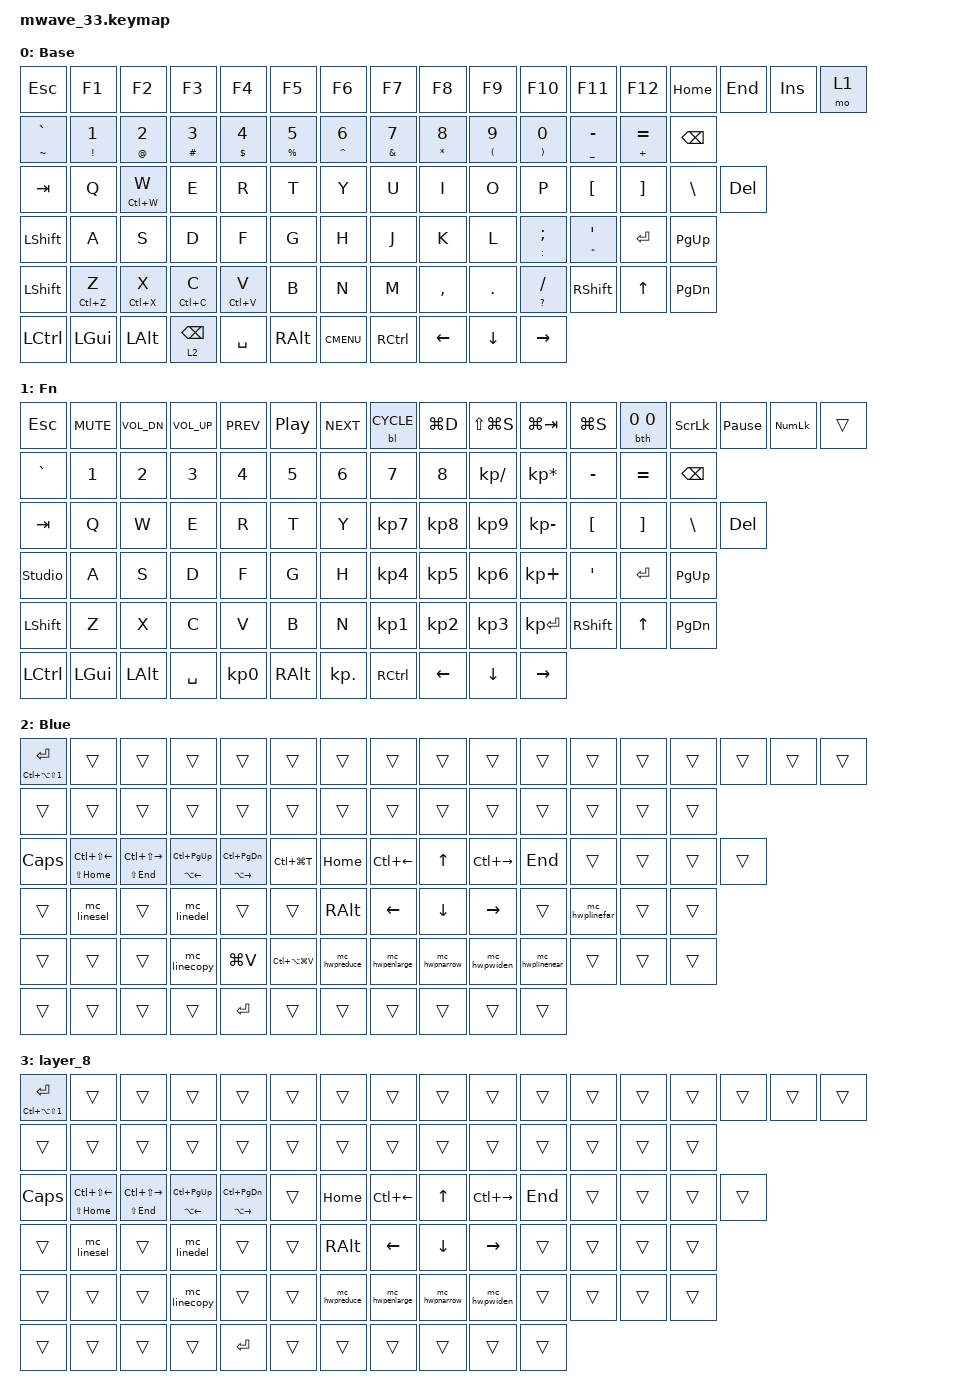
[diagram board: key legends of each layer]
#include <dt-bindings/advertising_mode.h>
#include <behaviors/advertising_mode.dtsi>
#include <behaviors/stp_indicators.dtsi>
#include <behaviors.dtsi>
#include <dt-bindings/zmk/backlight.h>
#include <dt-bindings/zmk/keys.h>
#include "studio-macros.dtsi"

&lt {
    tapping-term-ms = <150>;
    quick-tap-ms = <200>;
    flavor = "balanced";
};

/ {
    #include "mwave_prim.dtsi"

    macros {
        mc_linesel: mc_linesel {
            compatible = "zmk,behavior-macro";
            #binding-cells = <0>;
            bindings = <&kp END &kp LS(HOME)>;
            label = "MC_LINESEL";
        };

        mc_linedel: mc_linedel {
            compatible = "zmk,behavior-macro";
            #binding-cells = <0>;
            bindings = <&kp END &kp LS(HOME) &kp BACKSPACE>;
            label = "MC_LINEDEL";
        };

        mc_linecopy: mc_linecopy {
            compatible = "zmk,behavior-macro";
            #binding-cells = <0>;
            bindings = <&kp END &kp LS(HOME) &kp LC(C)>;
            label = "MC_LINECOPY";
        };

        mc_hwpenlarge: mc_hwpenlarge {
            compatible = "zmk,behavior-macro";
            #binding-cells = <0>;
            bindings = <&kp LA(LS(E))>;
            label = "MC_HWPENLARGE";
        };

        mc_hwpreduce: mc_hwpreduce {
            compatible = "zmk,behavior-macro";
            #binding-cells = <0>;
            bindings = <&kp LA(LS(R))>;
            label = "MC_HWPREDUCE";
        };

        mc_hwpnarrow: mc_hwpnarrow {
            compatible = "zmk,behavior-macro";
            #binding-cells = <0>;
            bindings = <&kp LA(LS(N)) &kp LA(LS(J))>;
            label = "MC_HWPNARROW";
        };

        mc_hwpwiden: mc_hwpwiden {
            compatible = "zmk,behavior-macro";
            #binding-cells = <0>;
            bindings = <&kp LA(LS(K)) &kp LA(LS(W))>;
            label = "MC_HWPWIDEN";
        };

        mc_hwplinefar: mc_hwplinefar {
            compatible = "zmk,behavior-macro";
            #binding-cells = <0>;
            bindings = <&kp LA(LS(A))>;
            label = "MC_HWPLINEFAR";
        };

        mc_hwplinenear: mc_hwplinenear {
            compatible = "zmk,behavior-macro";
            #binding-cells = <0>;
            bindings = <&kp LA(LS(Z))>;
            label = "MC_HWPLINENEAR";
        };
    };

    behaviors {
        hm: hm {
            compatible = "zmk,behavior-hold-tap";
            label = "HM";
            bindings = <&kp>, <&kp>;

            #binding-cells = <2>;
            tapping-term-ms = <200>;
            flavor = "tap-preferred";
        };
    };

    keymap {
        compatible = "zmk,keymap";

        default_layer {
            display-name = "Base";

            // -------------------------------------------------------------------------------------------------------
            // | ESC | F1  | F2  | F3  | F4  | F5  | F6  | | F7  | F8  | F9  | F10 | F11 | F12 |HOME| END |PSCN|  1  |
            // |GRAVE|  1  |  2  |  3  |  4  |  5  |  6  | |   7   |  8  |  9  |  0  |  -  |  =  |    BKSP     | DEL |
            // | TAB    |  Q  |  W  |  E  |  R  |   T    | |   Y  |  U  |  I  |  O  |  P  |  [  |  ]  |   \    |     |
            // | CAPS     |  A  |  S  |  D  |  F  |  G   | |  H    |  J  |  K  |  L  |  ;  |  '  |    ENTER    | PGUP|
            // |   SHIFT   |  Z  |  X  |  C  |  V  |  B  | |    N    |  M  |  ,  |  .  |  /  |   SHIFT   | UP  | PGDN|
            // |  CTL  |  WIN  |  ALT  |      SPACE      | |      SPACE        | ALT | MENU |RCTRL| LEFT| DOWN |RIGHT|
            // -------------------------------------------------------------------------------------------------------

            bindings = <
&kp ESC          &kp F1              &kp F2          &kp F3           &kp F4         &kp F5          &kp F6        &kp F7            &kp F8        &kp F9                   &kp F10                   &kp F11                &kp F12         &kp HOME   &kp END  &kp INSERT  &mo 1
&hm TILDE GRAVE  &hm EXCLAMATION N1  &hm AT_SIGN N2  &hm POUND N3     &hm DOLLAR N4  &hm PERCENT N5  &hm CARET N6  &hm AMPERSAND N7  &hm ASTRK N8  &hm LEFT_PARENTHESIS N9  &hm RIGHT_PARENTHESIS N0  &hm UNDERSCORE MINUS   &hm PLUS EQUAL  &kp BSPC
&kp TAB          &kp Q               &hm LC(W) W     &kp E            &kp R          &kp T           &kp Y         &kp U             &kp I         &kp O                    &kp P                     &kp LBKT               &kp RBKT        &kp BSLH   &kp DEL
&kp LSHFT        &kp A               &kp S           &kp D            &kp F          &kp G           &kp H         &kp J             &kp K         &kp L                    &hm COLON SEMICOLON       &hm DOUBLE_QUOTES SQT  &kp RET         &kp PG_UP
&kp LSHFT        &hm LC(Z) Z         &hm LC(X) X     &hm LC(C) C      &hm LC(V) V    &kp B           &kp N         &kp M             &kp COMMA     &kp DOT                  &hm QUESTION SLASH        &kp RSHFT              &kp UP          &kp PG_DN
&kp LCTRL        &kp LGUI            &kp LALT        &lt 2 BACKSPACE  &kp SPACE      &kp RALT        &kp K_CMENU   &kp RCTRL         &kp LEFT      &kp DOWN                 &kp RIGHT
            >;
        };

        raise {
            display-name = "Fn";
            bindings = <
&kp ESCAPE      &kp C_MUTE  &kp C_VOL_DN  &kp C_VOL_UP  &kp C_PREV  &kp C_PP  &kp C_NEXT  &bl BL_CYCLE  &kp LG(D)  &kp LS(LG(S))  &kp LG(TAB)      &kp LG(S)        &bth 0 0   &kp SCROLLLOCK  &kp PAUSE_BREAK  &kp KP_NUMLOCK  &trans
&kp GRAVE       &kp N1      &kp N2        &kp N3        &kp N4      &kp N5    &kp N6      &kp N7        &kp N8     &kp KP_DIVIDE  &kp KP_MULTIPLY  &kp MINUS        &kp EQUAL  &kp BACKSPACE
&kp TAB         &kp Q       &kp W         &kp E         &kp R       &kp T     &kp Y       &kp KP_N7     &kp KP_N8  &kp KP_N9      &kp KP_MINUS     &kp LBKT         &kp RBKT   &kp BSLH        &kp DELETE
&studio_unlock  &kp A       &kp S         &kp D         &kp F       &kp G     &kp H       &kp KP_N4     &kp KP_N5  &kp KP_N6      &kp KP_PLUS      &kp SQT          &kp ENTER  &kp PAGE_UP
&kp LEFT_SHIFT  &kp Z       &kp X         &kp C         &kp V       &kp B     &kp N       &kp KP_N1     &kp KP_N2  &kp KP_N3      &kp KP_ENTER     &kp RIGHT_SHIFT  &kp UP     &kp PAGE_DOWN
&kp LCTRL       &kp LGUI    &kp LALT      &kp SPACE     &kp KP_N0   &kp RALT  &kp KP_DOT  &kp RCTRL     &kp LEFT   &kp DOWN       &kp RIGHT
            >;
        };

        extra1 {
            display-name = "Blue";
            bindings = <
&hm LC(LA(LS(NUMBER_1))) ENTER  &trans                     &trans                     &trans                  &trans                       &trans             &trans         &trans          &trans         &trans         &trans           &trans          &trans  &trans  &trans  &trans  &trans
&trans                          &trans                     &trans                     &trans                  &trans                       &trans             &trans         &trans          &trans         &trans         &trans           &trans          &trans  &trans
&kp CAPSLOCK                    &hm LS(HOME) LC(LS(LEFT))  &hm LS(END) LC(LS(RIGHT))  &hm LA(LEFT) LC(PG_UP)  &hm LA(RIGHT) LC(PAGE_DOWN)  &kp LC(LG(T))      &kp HOME       &kp LC(LEFT)    &kp UP_ARROW   &kp LC(RIGHT)  &kp END          &trans          &trans  &trans  &trans
&trans                          &mc_linesel                &trans                     &mc_linedel             &trans                       &trans             &kp RIGHT_ALT  &kp LEFT        &kp DOWN       &kp RIGHT      &trans           &mc_hwplinefar  &trans  &trans
&trans                          &trans                     &trans                     &mc_linecopy            &kp LG(V)                    &kp LC(LA(LG(V)))  &mc_hwpreduce  &mc_hwpenlarge  &mc_hwpnarrow  &mc_hwpwiden   &mc_hwplinenear  &trans          &trans  &trans
&trans                          &trans                     &trans                     &trans                  &kp ENTER                    &trans             &trans         &trans          &trans         &trans         &trans
            >;
        };

        extra2 {
            display-name = "Green";
            status = "reserved";
        };

        extra3 {
            display-name = "Red";
            status = "reserved";
        };

        extra4 {
            display-name = "Purple";
            status = "reserved";
        };

        extra5 {
            display-name = "Cyan";
            status = "reserved";
        };

        extra6 {
            display-name = "Yellow";
            status = "reserved";
        };

        layer_8 {
            bindings = <
&hm LC(LA(LS(NUMBER_1))) ENTER  &trans                     &trans                     &trans                  &trans                       &trans  &trans         &trans          &trans         &trans         &trans   &trans  &trans  &trans  &trans  &trans  &trans
&trans                          &trans                     &trans                     &trans                  &trans                       &trans  &trans         &trans          &trans         &trans         &trans   &trans  &trans  &trans
&kp CAPSLOCK                    &hm LS(HOME) LC(LS(LEFT))  &hm LS(END) LC(LS(RIGHT))  &hm LA(LEFT) LC(PG_UP)  &hm LA(RIGHT) LC(PAGE_DOWN)  &trans  &kp HOME       &kp LC(LEFT)    &kp UP_ARROW   &kp LC(RIGHT)  &kp END  &trans  &trans  &trans  &trans
&trans                          &mc_linesel                &trans                     &mc_linedel             &trans                       &trans  &kp RIGHT_ALT  &kp LEFT        &kp DOWN       &kp RIGHT      &trans   &trans  &trans  &trans
&trans                          &trans                     &trans                     &mc_linecopy            &trans                       &trans  &mc_hwpreduce  &mc_hwpenlarge  &mc_hwpnarrow  &mc_hwpwiden   &trans   &trans  &trans  &trans
&trans                          &trans                     &trans                     &trans                  &kp ENTER                    &trans  &trans         &trans          &trans         &trans         &trans
            >;
        };
    };
};
